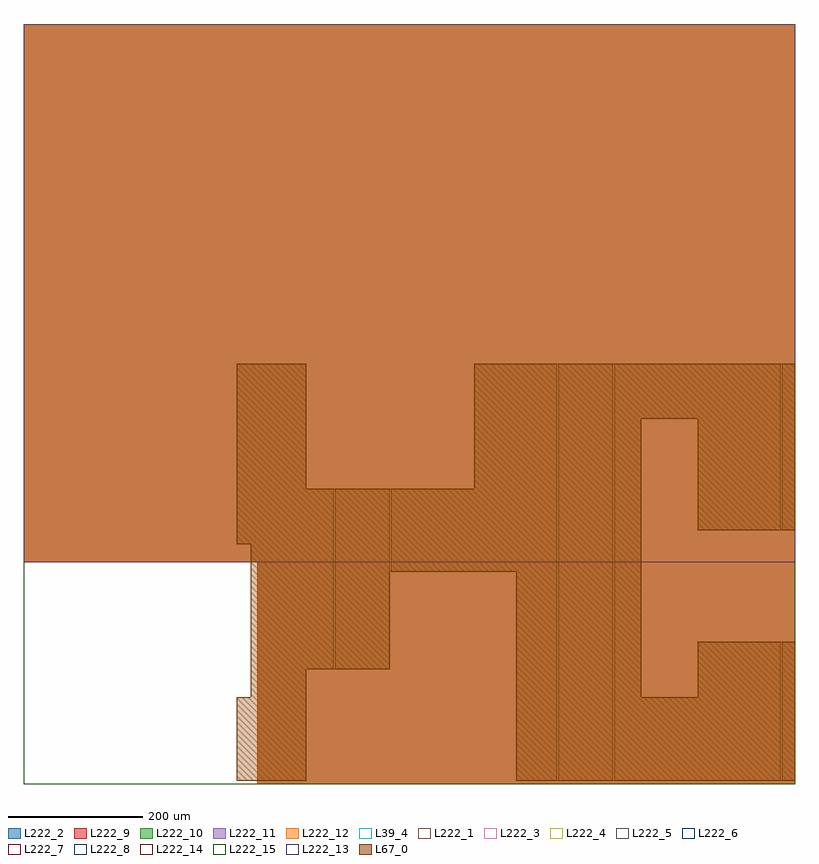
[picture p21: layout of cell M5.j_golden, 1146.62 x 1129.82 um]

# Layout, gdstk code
import gdstk
lib = gdstk.Library(unit=1e-6, precision=1e-09)
def R(c, l, rs):  # rectangles x0, y0, x1, y1
    for r in rs: c.add(gdstk.rectangle(r[:2], r[2:], *l))
L39_4 = (39, 4)
L67_0 = (67, 0)
L222_1 = (222, 1)
L222_2 = (222, 2)
L222_3 = (222, 3)
L222_4 = (222, 4)
L222_5 = (222, 5)
L222_6 = (222, 6)
L222_7 = (222, 7)
L222_8 = (222, 8)
L222_9 = (222, 9)
L222_10 = (222, 10)
L222_11 = (222, 11)
L222_12 = (222, 12)
L222_13 = (222, 13)
L222_14 = (222, 14)
L222_15 = (222, 15)

m5_j_golden = lib.new_cell('M5.j_golden')
R(m5_j_golden, L39_4, [(0,0,1146.62,1129.82)])
R(m5_j_golden, L67_0, [(316.63,5.1,336.63,25.1), (337.34,5.1,357.34,25.1), (357.97,5.1,377.97,25.1), (379.07,5.1,399.07,25.1), (399.7,5.1,419.7,25.1), (731.91,5.1,751.91,25.1), (752.65,5.1,772.65,25.1), (773.28,5.1,793.28,25.1), (794.38,5.1,814.38,25.1), (815.01,5.1,835.01,25.1), (835.62,5.1,855.62,25.1), (856.25,5.1,876.25,25.1), (877.35,5.1,897.35,25.1), (897.98,5.1,917.98,25.1), (918.72,5.1,938.72,25.1), (939.35,5.1,959.35,25.1), (960.45,5.1,980.45,25.1), (981.08,5.1,1001.08,25.1), (1001.79,5.1,1021.79,25.1), (1022.42,5.1,1042.42,25.1), (1043.52,5.1,1063.52,25.1), (1064.15,5.1,1084.15,25.1), (1084.89,5.1,1104.89,25.1), (1105.52,5.1,1125.52,25.1), (1126.62,5.1,1146.62,25.1), (316.63,25.82,336.63,45.82), (337.34,25.82,357.34,45.82), (357.97,25.82,377.97,45.82), (379.07,25.82,399.07,45.82), (399.7,25.82,419.7,45.82), (731.91,25.82,751.91,45.82), (752.65,25.82,772.65,45.82), (773.28,25.82,793.28,45.82), (794.38,25.82,814.38,45.82), (815.01,25.82,835.01,45.82), (835.62,25.82,855.62,45.82), (856.25,25.82,876.25,45.82), (877.35,25.82,897.35,45.82), (897.98,25.82,917.98,45.82), (918.72,25.82,938.72,45.82), (939.35,25.82,959.35,45.82), (960.45,25.82,980.45,45.82), (981.08,25.82,1001.08,45.82), (1001.79,25.82,1021.79,45.82), (1022.42,25.82,1042.42,45.82), (1043.52,25.82,1063.52,45.82), (1064.15,25.82,1084.15,45.82), (1084.89,25.82,1104.89,45.82), (1105.52,25.82,1125.52,45.82), (1126.62,25.82,1146.62,45.82), (316.63,46.45,336.63,66.45), (337.34,46.45,357.34,66.45), (357.97,46.45,377.97,66.45), (379.07,46.45,399.07,66.45), (399.7,46.45,419.7,66.45), (731.91,46.45,751.91,66.45), (752.65,46.45,772.65,66.45), (773.28,46.45,793.28,66.45), (794.38,46.45,814.38,66.45), (815.01,46.45,835.01,66.45), (835.62,46.45,855.62,66.45), (856.25,46.45,876.25,66.45), (877.35,46.45,897.35,66.45), (897.98,46.45,917.98,66.45), (918.72,46.45,938.72,66.45), (939.35,46.45,959.35,66.45), (960.45,46.45,980.45,66.45), (981.08,46.45,1001.08,66.45), (1001.79,46.45,1021.79,66.45), (1022.42,46.45,1042.42,66.45), (1043.52,46.45,1063.52,66.45), (1064.15,46.45,1084.15,66.45), (1084.89,46.45,1104.89,66.45), (1105.52,46.45,1125.52,66.45), (1126.62,46.45,1146.62,66.45), (316.63,67.17,336.63,87.17), (337.34,67.17,357.34,87.17), (357.97,67.17,377.97,87.17), (379.07,67.17,399.07,87.17), (399.7,67.17,419.7,87.17), (731.91,67.17,751.91,87.17), (752.65,67.17,772.65,87.17), (773.28,67.17,793.28,87.17), (794.38,67.17,814.38,87.17), (815.01,67.17,835.01,87.17), (835.62,67.17,855.62,87.17), (856.25,67.17,876.25,87.17), (877.35,67.17,897.35,87.17), (897.98,67.17,917.98,87.17), (918.72,67.17,938.72,87.17), (939.35,67.17,959.35,87.17), (960.45,67.17,980.45,87.17), (981.08,67.17,1001.08,87.17), (1001.79,67.17,1021.79,87.17), (1022.42,67.17,1042.42,87.17), (1043.52,67.17,1063.52,87.17), (1064.15,67.17,1084.15,87.17), (1084.89,67.17,1104.89,87.17), (1105.52,67.17,1125.52,87.17), (1126.62,67.17,1146.62,87.17), (316.63,87.88,336.63,107.88), (337.34,87.88,357.34,107.88), (357.97,87.88,377.97,107.88), (379.07,87.88,399.07,107.88), (399.7,87.88,419.7,107.88), (731.91,87.88,751.91,107.88), (752.65,87.88,772.65,107.88), (773.28,87.88,793.28,107.88), (794.38,87.88,814.38,107.88), (815.01,87.88,835.01,107.88), (835.62,87.88,855.62,107.88), (856.25,87.88,876.25,107.88), (877.35,87.88,897.35,107.88), (897.98,87.88,917.98,107.88), (918.72,87.88,938.72,107.88), (939.35,87.88,959.35,107.88), (960.45,87.88,980.45,107.88), (981.08,87.88,1001.08,107.88), (1001.79,87.88,1021.79,107.88), (1022.42,87.88,1042.42,107.88), (1043.52,87.88,1063.52,107.88), (1064.15,87.88,1084.15,107.88), (1084.89,87.88,1104.89,107.88), (1105.52,87.88,1125.52,107.88), (1126.62,87.88,1146.62,107.88), (316.63,108.6,336.63,128.6), (337.34,108.6,357.34,128.6), (357.97,108.6,377.97,128.6), (379.07,108.6,399.07,128.6), (399.7,108.6,419.7,128.6), (731.91,108.6,751.91,128.6), (752.65,108.6,772.65,128.6), (773.28,108.6,793.28,128.6), (794.38,108.6,814.38,128.6), (815.01,108.6,835.01,128.6), (835.62,108.6,855.62,128.6), (856.25,108.6,876.25,128.6), (877.35,108.6,897.35,128.6), (897.98,108.6,917.98,128.6), (918.72,108.6,938.72,128.6), (939.35,108.6,959.35,128.6), (960.45,108.6,980.45,128.6), (981.08,108.6,1001.08,128.6), (1001.79,108.6,1021.79,128.6), (1022.42,108.6,1042.42,128.6), (1043.52,108.6,1063.52,128.6), (1064.15,108.6,1084.15,128.6), (1084.89,108.6,1104.89,128.6), (1105.52,108.6,1125.52,128.6), (1126.62,108.6,1146.62,128.6), (337.34,129.23,357.34,149.23), (357.97,129.23,377.97,149.23), (379.07,129.23,399.07,149.23), (399.7,129.23,419.7,149.23), (731.91,129.23,751.91,149.23), (752.65,129.23,772.65,149.23), (773.28,129.23,793.28,149.23), (794.38,129.23,814.38,149.23), (815.01,129.23,835.01,149.23), (835.62,129.23,855.62,149.23), (856.25,129.23,876.25,149.23), (877.35,129.23,897.35,149.23), (897.98,129.23,917.98,149.23), (1001.79,129.23,1021.79,149.23), (1022.42,129.23,1042.42,149.23), (1043.52,129.23,1063.52,149.23), (1064.15,129.23,1084.15,149.23), (1084.89,129.23,1104.89,149.23), (1105.52,129.23,1125.52,149.23), (1126.62,129.23,1146.62,149.23), (337.34,149.95,357.34,169.95), (357.97,149.95,377.97,169.95), (379.07,149.95,399.07,169.95), (399.7,149.95,419.7,169.95), (731.91,149.95,751.91,169.95), (752.65,149.95,772.65,169.95), (773.28,149.95,793.28,169.95), (794.38,149.95,814.38,169.95), (815.01,149.95,835.01,169.95), (835.62,149.95,855.62,169.95), (856.25,149.95,876.25,169.95), (877.35,149.95,897.35,169.95), (897.98,149.95,917.98,169.95), (1001.79,149.95,1021.79,169.95), (1022.42,149.95,1042.42,169.95), (1043.52,149.95,1063.52,169.95), (1064.15,149.95,1084.15,169.95), (1084.89,149.95,1104.89,169.95), (1105.52,149.95,1125.52,169.95), (1126.62,149.95,1146.62,169.95), (337.34,170.56,357.34,190.56), (357.97,170.56,377.97,190.56), (379.07,170.56,399.07,190.56), (399.7,170.56,419.7,190.56), (420.44,170.56,440.44,190.56), (441.07,170.56,461.07,190.56), (462.17,170.56,482.17,190.56), (482.8,170.56,502.8,190.56), (503.41,170.56,523.41,190.56), (524.04,170.56,544.04,190.56), (731.91,170.56,751.91,190.56), (752.65,170.56,772.65,190.56), (773.28,170.56,793.28,190.56), (794.38,170.56,814.38,190.56), (815.01,170.56,835.01,190.56), (835.62,170.56,855.62,190.56), (856.25,170.56,876.25,190.56), (877.35,170.56,897.35,190.56), (897.98,170.56,917.98,190.56), (1001.79,170.56,1021.79,190.56), (1022.42,170.56,1042.42,190.56), (1043.52,170.56,1063.52,190.56), (1064.15,170.56,1084.15,190.56), (1084.89,170.56,1104.89,190.56), (1105.52,170.56,1125.52,190.56), (1126.62,170.56,1146.62,190.56), (337.34,191.28,357.34,211.28), (357.97,191.28,377.97,211.28), (379.07,191.28,399.07,211.28), (399.7,191.28,419.7,211.28), (420.44,191.28,440.44,211.28), (441.07,191.28,461.07,211.28), (462.17,191.28,482.17,211.28), (482.8,191.28,502.8,211.28), (503.41,191.28,523.41,211.28), (524.04,191.28,544.04,211.28), (731.91,191.28,751.91,211.28), (752.65,191.28,772.65,211.28), (773.28,191.28,793.28,211.28), (794.38,191.28,814.38,211.28), (815.01,191.28,835.01,211.28), (835.62,191.28,855.62,211.28), (856.25,191.28,876.25,211.28), (877.35,191.28,897.35,211.28), (897.98,191.28,917.98,211.28), (1001.79,191.28,1021.79,211.28), (1022.42,191.28,1042.42,211.28), (1043.52,191.28,1063.52,211.28), (1064.15,191.28,1084.15,211.28), (1084.89,191.28,1104.89,211.28), (1105.52,191.28,1125.52,211.28), (1126.62,191.28,1146.62,211.28), (337.34,211.91,357.34,231.91), (357.97,211.91,377.97,231.91), (379.07,211.91,399.07,231.91), (399.7,211.91,419.7,231.91), (420.44,211.91,440.44,231.91), (441.07,211.91,461.07,231.91), (462.17,211.91,482.17,231.91), (482.8,211.91,502.8,231.91), (503.41,211.91,523.41,231.91), (524.04,211.91,544.04,231.91), (731.91,211.91,751.91,231.91), (752.65,211.91,772.65,231.91), (773.28,211.91,793.28,231.91), (794.38,211.91,814.38,231.91), (815.01,211.91,835.01,231.91), (835.62,211.91,855.62,231.91), (856.25,211.91,876.25,231.91), (877.35,211.91,897.35,231.91), (897.98,211.91,917.98,231.91), (337.34,232.63,357.34,252.63), (357.97,232.63,377.97,252.63), (379.07,232.63,399.07,252.63), (399.7,232.63,419.7,252.63), (420.44,232.63,440.44,252.63), (441.07,232.63,461.07,252.63), (462.17,232.63,482.17,252.63), (482.8,232.63,502.8,252.63), (503.41,232.63,523.41,252.63), (524.04,232.63,544.04,252.63), (731.91,232.63,751.91,252.63), (752.65,232.63,772.65,252.63), (773.28,232.63,793.28,252.63), (794.38,232.63,814.38,252.63), (815.01,232.63,835.01,252.63), (835.62,232.63,855.62,252.63), (856.25,232.63,876.25,252.63), (877.35,232.63,897.35,252.63), (897.98,232.63,917.98,252.63), (337.34,253.34,357.34,273.34), (357.97,253.34,377.97,273.34), (379.07,253.34,399.07,273.34), (399.7,253.34,419.7,273.34), (420.44,253.34,440.44,273.34), (441.07,253.34,461.07,273.34), (462.17,253.34,482.17,273.34), (482.8,253.34,502.8,273.34), (503.41,253.34,523.41,273.34), (524.04,253.34,544.04,273.34), (731.91,253.34,751.91,273.34), (752.65,253.34,772.65,273.34), (773.28,253.34,793.28,273.34), (794.38,253.34,814.38,273.34), (815.01,253.34,835.01,273.34), (835.62,253.34,855.62,273.34), (856.25,253.34,876.25,273.34), (877.35,253.34,897.35,273.34), (897.98,253.34,917.98,273.34), (337.34,274.06,357.34,294.06), (357.97,274.06,377.97,294.06), (379.07,274.06,399.07,294.06), (399.7,274.06,419.7,294.06), (420.44,274.06,440.44,294.06), (441.07,274.06,461.07,294.06), (462.17,274.06,482.17,294.06), (482.8,274.06,502.8,294.06), (503.41,274.06,523.41,294.06), (524.04,274.06,544.04,294.06), (731.91,274.06,751.91,294.06), (752.65,274.06,772.65,294.06), (773.28,274.06,793.28,294.06), (794.38,274.06,814.38,294.06), (815.01,274.06,835.01,294.06), (835.62,274.06,855.62,294.06), (856.25,274.06,876.25,294.06), (877.35,274.06,897.35,294.06), (897.98,274.06,917.98,294.06), (337.34,294.69,357.34,314.69), (357.97,294.69,377.97,314.69), (379.07,294.69,399.07,314.69), (399.7,294.69,419.7,314.69), (420.44,294.69,440.44,314.69), (441.07,294.69,461.07,314.69), (462.17,294.69,482.17,314.69), (482.8,294.69,502.8,314.69), (503.41,294.69,523.41,314.69), (524.04,294.69,544.04,314.69), (731.91,294.69,751.91,314.69), (752.65,294.69,772.65,314.69), (773.28,294.69,793.28,314.69), (794.38,294.69,814.38,314.69), (815.01,294.69,835.01,314.69), (835.62,294.69,855.62,314.69), (856.25,294.69,876.25,314.69), (877.35,294.69,897.35,314.69), (897.98,294.69,917.98,314.69), (337.34,315.41,357.34,335.41), (357.97,315.41,377.97,335.41), (379.07,315.41,399.07,335.41), (399.7,315.41,419.7,335.41), (420.44,315.41,440.44,335.41), (441.07,315.41,461.07,335.41), (462.17,315.41,482.17,335.41), (482.8,315.41,502.8,335.41), (503.41,315.41,523.41,335.41), (524.04,315.41,544.04,335.41), (545.14,315.41,565.14,335.41), (565.77,315.41,585.77,335.41), (586.51,315.41,606.51,335.41), (607.14,315.41,627.14,335.41), (628.24,315.41,648.24,335.41), (648.87,315.41,668.87,335.41), (669.55,315.41,689.55,335.41), (690.18,315.41,710.18,335.41), (711.28,315.41,731.28,335.41), (731.91,315.41,751.91,335.41), (752.65,315.41,772.65,335.41), (773.28,315.41,793.28,335.41), (794.38,315.41,814.38,335.41), (815.01,315.41,835.01,335.41), (835.62,315.41,855.62,335.41), (856.25,315.41,876.25,335.41), (877.35,315.41,897.35,335.41), (897.98,315.41,917.98,335.41), (337.34,336.03,357.34,356.03), (357.97,336.03,377.97,356.03), (379.07,336.03,399.07,356.03), (399.7,336.03,419.7,356.03), (420.44,336.03,440.44,356.03), (441.07,336.03,461.07,356.03), (462.17,336.03,482.17,356.03), (482.8,336.03,502.8,356.03), (503.41,336.03,523.41,356.03), (524.04,336.03,544.04,356.03), (545.14,336.03,565.14,356.03), (565.77,336.03,585.77,356.03), (586.51,336.03,606.51,356.03), (607.14,336.03,627.14,356.03), (628.24,336.03,648.24,356.03), (648.87,336.03,668.87,356.03), (669.55,336.03,689.55,356.03), (690.18,336.03,710.18,356.03), (711.28,336.03,731.28,356.03), (731.91,336.03,751.91,356.03), (752.65,336.03,772.65,356.03), (773.28,336.03,793.28,356.03), (794.38,336.03,814.38,356.03), (815.01,336.03,835.01,356.03), (835.62,336.03,855.62,356.03), (856.25,336.03,876.25,356.03), (877.35,336.03,897.35,356.03), (897.98,336.03,917.98,356.03), (316.63,356.75,336.63,376.75), (337.34,356.75,357.34,376.75), (357.97,356.75,377.97,376.75), (379.07,356.75,399.07,376.75), (399.7,356.75,419.7,376.75), (420.44,356.75,440.44,376.75), (441.07,356.75,461.07,376.75), (462.17,356.75,482.17,376.75), (482.8,356.75,502.8,376.75), (503.41,356.75,523.41,376.75), (524.04,356.75,544.04,376.75), (545.14,356.75,565.14,376.75), (565.77,356.75,585.77,376.75), (586.51,356.75,606.51,376.75), (607.14,356.75,627.14,376.75), (628.24,356.75,648.24,376.75), (648.87,356.75,668.87,376.75), (669.55,356.75,689.55,376.75), (690.18,356.75,710.18,376.75), (711.28,356.75,731.28,376.75), (731.91,356.75,751.91,376.75), (752.65,356.75,772.65,376.75), (773.28,356.75,793.28,376.75), (794.38,356.75,814.38,376.75), (815.01,356.75,835.01,376.75), (835.62,356.75,855.62,376.75), (856.25,356.75,876.25,376.75), (877.35,356.75,897.35,376.75), (897.98,356.75,917.98,376.75), (316.63,377.38,336.63,397.38), (337.34,377.38,357.34,397.38), (357.97,377.38,377.97,397.38), (379.07,377.38,399.07,397.38), (399.7,377.38,419.7,397.38), (420.44,377.38,440.44,397.38), (441.07,377.38,461.07,397.38), (462.17,377.38,482.17,397.38), (482.8,377.38,502.8,397.38), (503.41,377.38,523.41,397.38), (524.04,377.38,544.04,397.38), (545.14,377.38,565.14,397.38), (565.77,377.38,585.77,397.38), (586.51,377.38,606.51,397.38), (607.14,377.38,627.14,397.38), (628.24,377.38,648.24,397.38), (648.87,377.38,668.87,397.38), (669.55,377.38,689.55,397.38), (690.18,377.38,710.18,397.38), (711.28,377.38,731.28,397.38), (731.91,377.38,751.91,397.38), (752.65,377.38,772.65,397.38), (773.28,377.38,793.28,397.38), (794.38,377.38,814.38,397.38), (815.01,377.38,835.01,397.38), (835.62,377.38,855.62,397.38), (856.25,377.38,876.25,397.38), (877.35,377.38,897.35,397.38), (897.98,377.38,917.98,397.38), (1001.79,377.38,1021.79,397.38), (1022.42,377.38,1042.42,397.38), (1043.52,377.38,1063.52,397.38), (1064.15,377.38,1084.15,397.38), (1084.89,377.38,1104.89,397.38), (1105.52,377.38,1125.52,397.38), (1126.62,377.38,1146.62,397.38), (316.63,398.1,336.63,418.1), (337.34,398.1,357.34,418.1), (357.97,398.1,377.97,418.1), (379.07,398.1,399.07,418.1), (399.7,398.1,419.7,418.1), (420.44,398.1,440.44,418.1), (441.07,398.1,461.07,418.1), (462.17,398.1,482.17,418.1), (482.8,398.1,502.8,418.1), (503.41,398.1,523.41,418.1), (524.04,398.1,544.04,418.1), (545.14,398.1,565.14,418.1), (565.77,398.1,585.77,418.1), (586.51,398.1,606.51,418.1), (607.14,398.1,627.14,418.1), (628.24,398.1,648.24,418.1), (648.87,398.1,668.87,418.1), (669.55,398.1,689.55,418.1), (690.18,398.1,710.18,418.1), (711.28,398.1,731.28,418.1), (731.91,398.1,751.91,418.1), (752.65,398.1,772.65,418.1), (773.28,398.1,793.28,418.1), (794.38,398.1,814.38,418.1), (815.01,398.1,835.01,418.1), (835.62,398.1,855.62,418.1), (856.25,398.1,876.25,418.1), (877.35,398.1,897.35,418.1), (897.98,398.1,917.98,418.1), (1001.79,398.1,1021.79,418.1), (1022.42,398.1,1042.42,418.1), (1043.52,398.1,1063.52,418.1), (1064.15,398.1,1084.15,418.1), (1084.89,398.1,1104.89,418.1), (1105.52,398.1,1125.52,418.1), (1126.62,398.1,1146.62,418.1), (316.63,418.81,336.63,438.81), (337.34,418.81,357.34,438.81), (357.97,418.81,377.97,438.81), (379.07,418.81,399.07,438.81), (399.7,418.81,419.7,438.81), (420.44,418.81,440.44,438.81), (441.07,418.81,461.07,438.81), (462.17,418.81,482.17,438.81), (482.8,418.81,502.8,438.81), (503.41,418.81,523.41,438.81), (524.04,418.81,544.04,438.81), (545.14,418.81,565.14,438.81), (565.77,418.81,585.77,438.81), (586.51,418.81,606.51,438.81), (607.14,418.81,627.14,438.81), (628.24,418.81,648.24,438.81), (648.87,418.81,668.87,438.81), (669.55,418.81,689.55,438.81), (690.18,418.81,710.18,438.81), (711.28,418.81,731.28,438.81), (731.91,418.81,751.91,438.81), (752.65,418.81,772.65,438.81), (773.28,418.81,793.28,438.81), (794.38,418.81,814.38,438.81), (815.01,418.81,835.01,438.81), (835.62,418.81,855.62,438.81), (856.25,418.81,876.25,438.81), (877.35,418.81,897.35,438.81), (897.98,418.81,917.98,438.81), (1001.79,418.81,1021.79,438.81), (1022.42,418.81,1042.42,438.81), (1043.52,418.81,1063.52,438.81), (1064.15,418.81,1084.15,438.81), (1084.89,418.81,1104.89,438.81), (1105.52,418.81,1125.52,438.81), (1126.62,418.81,1146.62,438.81), (316.63,439.53,336.63,459.53), (337.34,439.53,357.34,459.53), (357.97,439.53,377.97,459.53), (379.07,439.53,399.07,459.53), (399.7,439.53,419.7,459.53), (669.55,439.53,689.55,459.53), (690.18,439.53,710.18,459.53), (711.28,439.53,731.28,459.53), (731.91,439.53,751.91,459.53), (752.65,439.53,772.65,459.53), (773.28,439.53,793.28,459.53), (794.38,439.53,814.38,459.53), (815.01,439.53,835.01,459.53), (835.62,439.53,855.62,459.53), (856.25,439.53,876.25,459.53), (877.35,439.53,897.35,459.53), (897.98,439.53,917.98,459.53), (1001.79,439.53,1021.79,459.53), (1022.42,439.53,1042.42,459.53), (1043.52,439.53,1063.52,459.53), (1064.15,439.53,1084.15,459.53), (1084.89,439.53,1104.89,459.53), (1105.52,439.53,1125.52,459.53), (1126.62,439.53,1146.62,459.53), (316.63,460.16,336.63,480.16), (337.34,460.16,357.34,480.16), (357.97,460.16,377.97,480.16), (379.07,460.16,399.07,480.16), (399.7,460.16,419.7,480.16), (669.55,460.16,689.55,480.16), (690.18,460.16,710.18,480.16), (711.28,460.16,731.28,480.16), (731.91,460.16,751.91,480.16), (752.65,460.16,772.65,480.16), (773.28,460.16,793.28,480.16), (794.38,460.16,814.38,480.16), (815.01,460.16,835.01,480.16), (835.62,460.16,855.62,480.16), (856.25,460.16,876.25,480.16), (877.35,460.16,897.35,480.16), (897.98,460.16,917.98,480.16), (1001.79,460.16,1021.79,480.16), (1022.42,460.16,1042.42,480.16), (1043.52,460.16,1063.52,480.16), (1064.15,460.16,1084.15,480.16), (1084.89,460.16,1104.89,480.16), (1105.52,460.16,1125.52,480.16), (1126.62,460.16,1146.62,480.16), (316.63,480.88,336.63,500.88), (337.34,480.88,357.34,500.88), (357.97,480.88,377.97,500.88), (379.07,480.88,399.07,500.88), (399.7,480.88,419.7,500.88), (669.55,480.88,689.55,500.88), (690.18,480.88,710.18,500.88), (711.28,480.88,731.28,500.88), (731.91,480.88,751.91,500.88), (752.65,480.88,772.65,500.88), (773.28,480.88,793.28,500.88), (794.38,480.88,814.38,500.88), (815.01,480.88,835.01,500.88), (835.62,480.88,855.62,500.88), (856.25,480.88,876.25,500.88), (877.35,480.88,897.35,500.88), (897.98,480.88,917.98,500.88), (1001.79,480.88,1021.79,500.88), (1022.42,480.88,1042.42,500.88), (1043.52,480.88,1063.52,500.88), (1064.15,480.88,1084.15,500.88), (1084.89,480.88,1104.89,500.88), (1105.52,480.88,1125.52,500.88), (1126.62,480.88,1146.62,500.88), (316.63,501.49,336.63,521.49), (337.34,501.49,357.34,521.49), (357.97,501.49,377.97,521.49), (379.07,501.49,399.07,521.49), (399.7,501.49,419.7,521.49), (669.55,501.49,689.55,521.49), (690.18,501.49,710.18,521.49), (711.28,501.49,731.28,521.49), (731.91,501.49,751.91,521.49), (752.65,501.49,772.65,521.49), (773.28,501.49,793.28,521.49), (794.38,501.49,814.38,521.49), (815.01,501.49,835.01,521.49), (835.62,501.49,855.62,521.49), (856.25,501.49,876.25,521.49), (877.35,501.49,897.35,521.49), (897.98,501.49,917.98,521.49), (1001.79,501.49,1021.79,521.49), (1022.42,501.49,1042.42,521.49), (1043.52,501.49,1063.52,521.49), (1064.15,501.49,1084.15,521.49), (1084.89,501.49,1104.89,521.49), (1105.52,501.49,1125.52,521.49), (1126.62,501.49,1146.62,521.49), (316.63,522.21,336.63,542.21), (337.34,522.21,357.34,542.21), (357.97,522.21,377.97,542.21), (379.07,522.21,399.07,542.21), (399.7,522.21,419.7,542.21), (669.55,522.21,689.55,542.21), (690.18,522.21,710.18,542.21), (711.28,522.21,731.28,542.21), (731.91,522.21,751.91,542.21), (752.65,522.21,772.65,542.21), (773.28,522.21,793.28,542.21), (794.38,522.21,814.38,542.21), (815.01,522.21,835.01,542.21), (835.62,522.21,855.62,542.21), (856.25,522.21,876.25,542.21), (877.35,522.21,897.35,542.21), (897.98,522.21,917.98,542.21), (1001.79,522.21,1021.79,542.21), (1022.42,522.21,1042.42,542.21), (1043.52,522.21,1063.52,542.21), (1064.15,522.21,1084.15,542.21), (1084.89,522.21,1104.89,542.21), (1105.52,522.21,1125.52,542.21), (1126.62,522.21,1146.62,542.21), (316.63,542.84,336.63,562.84), (337.34,542.84,357.34,562.84), (357.97,542.84,377.97,562.84), (379.07,542.84,399.07,562.84), (399.7,542.84,419.7,562.84), (669.55,542.84,689.55,562.84), (690.18,542.84,710.18,562.84), (711.28,542.84,731.28,562.84), (731.91,542.84,751.91,562.84), (752.65,542.84,772.65,562.84), (773.28,542.84,793.28,562.84), (794.38,542.84,814.38,562.84), (815.01,542.84,835.01,562.84), (835.62,542.84,855.62,562.84), (856.25,542.84,876.25,562.84), (877.35,542.84,897.35,562.84), (897.98,542.84,917.98,562.84), (918.72,542.84,938.72,562.84), (939.35,542.84,959.35,562.84), (960.45,542.84,980.45,562.84), (981.08,542.84,1001.08,562.84), (1001.79,542.84,1021.79,562.84), (1022.42,542.84,1042.42,562.84), (1043.52,542.84,1063.52,562.84), (1064.15,542.84,1084.15,562.84), (1084.89,542.84,1104.89,562.84), (1105.52,542.84,1125.52,562.84), (1126.62,542.84,1146.62,562.84), (316.63,563.56,336.63,583.56), (337.34,563.56,357.34,583.56), (357.97,563.56,377.97,583.56), (379.07,563.56,399.07,583.56), (399.7,563.56,419.7,583.56), (669.55,563.56,689.55,583.56), (690.18,563.56,710.18,583.56), (711.28,563.56,731.28,583.56), (731.91,563.56,751.91,583.56), (752.65,563.56,772.65,583.56), (773.28,563.56,793.28,583.56), (794.38,563.56,814.38,583.56), (815.01,563.56,835.01,583.56), (835.62,563.56,855.62,583.56), (856.25,563.56,876.25,583.56), (877.35,563.56,897.35,583.56), (897.98,563.56,917.98,583.56), (918.72,563.56,938.72,583.56), (939.35,563.56,959.35,583.56), (960.45,563.56,980.45,583.56), (981.08,563.56,1001.08,583.56), (1001.79,563.56,1021.79,583.56), (1022.42,563.56,1042.42,583.56), (1043.52,563.56,1063.52,583.56), (1064.15,563.56,1084.15,583.56), (1084.89,563.56,1104.89,583.56), (1105.52,563.56,1125.52,583.56), (1126.62,563.56,1146.62,583.56), (316.63,584.27,336.63,604.27), (337.34,584.27,357.34,604.27), (357.97,584.27,377.97,604.27), (379.07,584.27,399.07,604.27), (399.7,584.27,419.7,604.27), (669.55,584.27,689.55,604.27), (690.18,584.27,710.18,604.27), (711.28,584.27,731.28,604.27), (731.91,584.27,751.91,604.27), (752.65,584.27,772.65,604.27), (773.28,584.27,793.28,604.27), (794.38,584.27,814.38,604.27), (815.01,584.27,835.01,604.27), (835.62,584.27,855.62,604.27), (856.25,584.27,876.25,604.27), (877.35,584.27,897.35,604.27), (897.98,584.27,917.98,604.27), (918.72,584.27,938.72,604.27), (939.35,584.27,959.35,604.27), (960.45,584.27,980.45,604.27), (981.08,584.27,1001.08,604.27), (1001.79,584.27,1021.79,604.27), (1022.42,584.27,1042.42,604.27), (1043.52,584.27,1063.52,604.27), (1064.15,584.27,1084.15,604.27), (1084.89,584.27,1104.89,604.27), (1105.52,584.27,1125.52,604.27), (1126.62,584.27,1146.62,604.27), (316.63,604.99,336.63,624.99), (337.34,604.99,357.34,624.99), (357.97,604.99,377.97,624.99), (379.07,604.99,399.07,624.99), (399.7,604.99,419.7,624.99), (669.55,604.99,689.55,624.99), (690.18,604.99,710.18,624.99), (711.28,604.99,731.28,624.99), (731.91,604.99,751.91,624.99), (752.65,604.99,772.65,624.99), (773.28,604.99,793.28,624.99), (794.38,604.99,814.38,624.99), (815.01,604.99,835.01,624.99), (835.62,604.99,855.62,624.99), (856.25,604.99,876.25,624.99), (877.35,604.99,897.35,624.99), (897.98,604.99,917.98,624.99), (918.72,604.99,938.72,624.99), (939.35,604.99,959.35,624.99), (960.45,604.99,980.45,624.99), (981.08,604.99,1001.08,624.99), (1001.79,604.99,1021.79,624.99), (1022.42,604.99,1042.42,624.99), (1043.52,604.99,1063.52,624.99), (1064.15,604.99,1084.15,624.99), (1084.89,604.99,1104.89,624.99), (1105.52,604.99,1125.52,624.99), (1126.62,604.99,1146.62,624.99)])
R(m5_j_golden, L222_1, [(0,0,1146.62,1129.82)])
R(m5_j_golden, L222_2, [(346.62,0,1146.62,800), (0,329.82,800,1129.82), (346.62,329.82,1146.62,1129.82)])
R(m5_j_golden, L222_3, [(0,0,1146.62,1129.82)])
R(m5_j_golden, L222_4, [(0,0,1146.62,1129.82)])
R(m5_j_golden, L222_5, [(0,0,1146.62,1129.82)])
R(m5_j_golden, L222_6, [(0,0,1146.62,1129.82)])
R(m5_j_golden, L222_7, [(0,0,1146.62,1129.82)])
R(m5_j_golden, L222_8, [(0,0,1146.62,1129.82)])
R(m5_j_golden, L222_9, [(346.62,0,1146.62,800), (0,329.82,800,1129.82), (346.62,329.82,1146.62,1129.82)])
R(m5_j_golden, L222_10, [(346.62,0,1146.62,800), (0,329.82,800,1129.82), (346.62,329.82,1146.62,1129.82)])
R(m5_j_golden, L222_11, [(346.62,0,1146.62,800), (0,329.82,800,1129.82), (346.62,329.82,1146.62,1129.82)])
R(m5_j_golden, L222_12, [(346.62,0,1146.62,800), (0,329.82,800,1129.82), (346.62,329.82,1146.62,1129.82)])
R(m5_j_golden, L222_13, [(0,329.82,800,1129.82), (346.62,329.82,1146.62,1129.82)])
R(m5_j_golden, L222_14, [(0,0,1146.62,1129.82)])
R(m5_j_golden, L222_15, [(0,0,1146.62,1129.82)])

lib.write_gds('M5.j_golden.gds')
